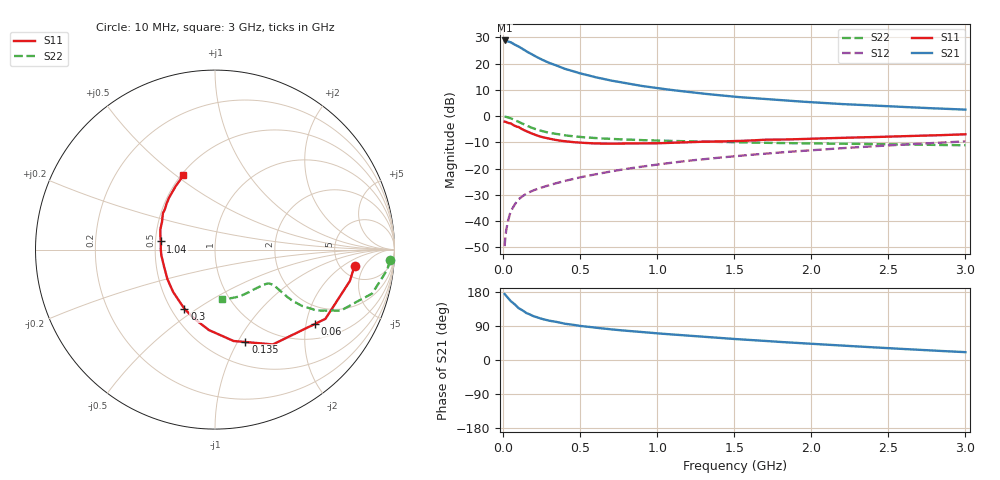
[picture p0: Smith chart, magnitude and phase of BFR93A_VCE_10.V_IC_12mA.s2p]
! Infineon Technologies  Discrete & RF Semiconductors
! BFR93A
! VCE =  10. V,  IC =  12 mA
! Common Emitter S-Parameters:  Nov 2015
# GHz  S  MA  R  50
!  f  S11  S21  S12  S22
! GHz  MAG  ANG  MAG  ANG  MAG  ANG  MAG  ANG
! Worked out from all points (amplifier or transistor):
!   180 points, 10 MHz to 3 GHz, reference 50 ohm
!   highest |S21| = 28.9 dB at 10 MHz (marker M1)
!   |S21| within 3 dB of that: start of sweep to 119.5 MHz
!   unconditionally stable (mu >= 1): 570.5 MHz to 2.593 GHz
!   at 160 MHz: K = 0.53, MSG = 26.9 dB, |S12| = -29.3 dB
!   at 1.22 GHz: K = 1.08, MAG = 11.2 dB, |S12| = -16.9 dB
!   at 3 GHz: K = 0.96, MSG = 6.1 dB, |S12| = -9.6 dB
!   S11 on the Smith chart (normalised r, x): 10 MHz: 6.73, -3.12; 60 MHz: 1.41, -2.25; 135 MHz: 0.74, -1.08; 300 MHz: 0.58, -0.45; 1.04 GHz: 0.53, +0.05; 3 GHz: 0.51, +0.53
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0.01  0.7827 -6.6  27.75 174.2  0.0033 83.8  0.976 -3.4
0.02  0.7716 -13.1  27.38 169.3  0.0065 80.7  0.9667 -6.6
0.05  0.7261 -32.1  25.62 155.3  0.0151 75.3  0.9092 -15.6
0.06  0.6939 -36.7  24.59 152.2  0.0172 72.3  0.881 -17.4
0.1  0.619 -58.6  21.34 137.1  0.0258 65.3  0.7784 -25.9
0.135  0.5421 -71.8  18.4 128.6  0.0308 61.8  0.6958 -29.2
0.15  0.5197 -78.5  17.29 124.1  0.033 60.6  0.6613 -30.9
0.2  0.4497 -94.3  14.27 115.2  0.0386 59.2  0.5781 -32.9
0.24  0.4089 -104.3  12.45 110.0  0.0424 59.0  0.5317 -33.3
0.26  0.394 -109.0  11.68 107.7  0.0443 59.1  0.5121 -33.4
0.3  0.3712 -117.3  10.34 103.7  0.0481 59.6  0.4801 -33.2
0.4  0.3318 -134.7  7.998 95.8  0.0578 61.3  0.4283 -32.3
0.52  0.3091 -150.1  6.326 89.1  0.0697 63.0  0.3954 -31.5
0.6  0.3011 -158.5  5.518 85.2  0.0776 63.7  0.38 -31.3
0.7  0.298 -166.9  4.773 80.9  0.088 64.3  0.3668 -31.5
0.9  0.3024 179.4  3.763 73.8  0.1085 64.7  0.3478 -32.9
1.02  0.3043 172.4  3.355 69.7  0.1211 64.5  0.3411 -34.3
1.04  0.3055 171.4  3.298 69.1  0.1232 64.4  0.3398 -34.6
1.52  0.3347 151.7  2.318 55.0  0.1734 62.0  0.3159 -42.6
2.02  0.3722 136.5  1.825 42.4  0.2249 58.2  0.3008 -53.6
2.52  0.4079 123.9  1.525 30.9  0.2779 53.5  0.2897 -66.6
3  0.4498 113.1  1.329 20.7  0.3294 48.7  0.2782 -82.1
